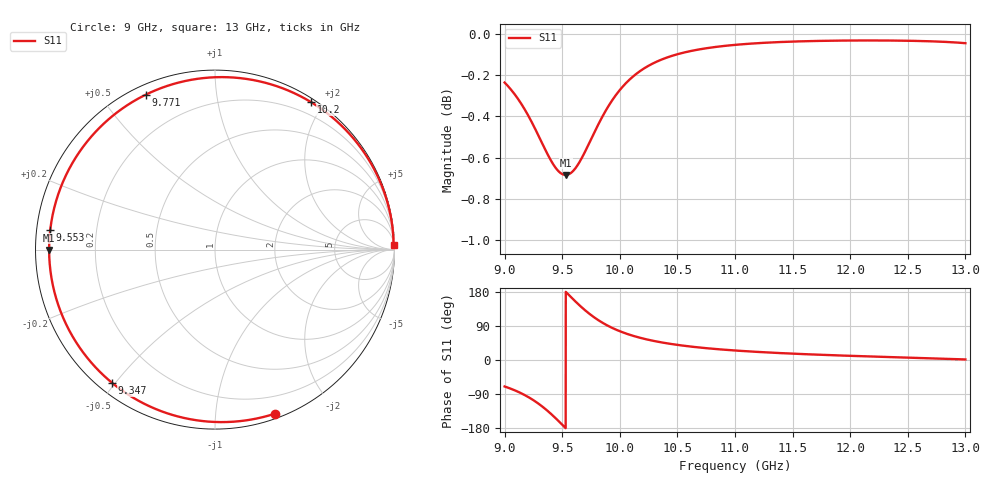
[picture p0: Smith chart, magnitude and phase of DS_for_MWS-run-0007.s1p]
! TOUCHSTONE file generated by CST DESIGN STUDIO
! Date and time: Tue Feb  4 12:46:54 2025
! Project name: C:\Work\MatlabApps\UnitCellOptimizationMatlab\CST\unitcell.cst
! Tree item: Tasks\Sweep1\SPara1\S-Parameters
! Header version: 2024
! Port assignment regex: !\s*Touchstone port\s*([0-9]+)\s*=\s*(CST MWS port|CST DES external port|CST DES block port)\s*(.+)\s* \(\"(.*)\"\)(\s*mode\s*([0-9]+))?.*
! Touchstone port assignment:
! Touchstone port 1 = CST DES external port 1 ("")
# GHz S MA R 50
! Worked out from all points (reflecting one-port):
!   4001 points, 9 GHz to 13 GHz, reference 50 ohm
!   lowest |S11| = -0.7 dB at 9.53 GHz (marker M1), VSWR 25.39, Z = 1.97 - j0.0528 ohm
!   phase of S11 starts at -70 deg and turns -289 deg over the sweep
!   S11 on the Smith chart (normalised r, x): 9 GHz: 0.04, -1.43; 9.347 GHz: 0.04, -0.49; 9.553 GHz: 0.04, +0.06; 9.771 GHz: 0.04, +0.65; 10.2 GHz: 0.04, +1.84; 13 GHz: 15, +75
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9  0.9733 -69.8
9.098  0.966 -81.3
9.205  0.9555 -97.7
9.28  0.9465 -112.2
9.347  0.9381 -127.6
9.389  0.9331 -138.4
9.432  0.9288 -150.4
9.5  0.9247 -170.7
9.53  0.9242 -179.9
9.553  0.9245 173.0
9.607  0.9271 156.7
9.667  0.9327 139.6
9.718  0.9387 126.3
9.771  0.9455 114.0
9.819  0.9514 104.1
9.871  0.9573 94.6
9.935  0.9637 84.6
10  0.9692 76.0
10.094  0.9754 65.8
10.197  0.9804 57.0
10.336  0.9852 47.9
10.5  0.9888 39.9
10.721  0.9918 32.1
11  0.994 25.1
11.5  0.9958 16.8
12  0.9964 11.0
12.5  0.9963 6.3
13  0.9949 1.5
